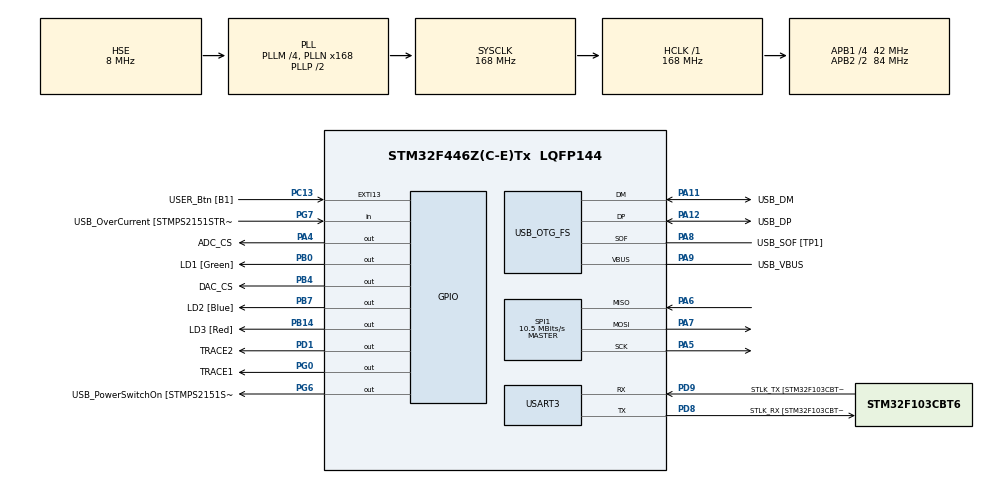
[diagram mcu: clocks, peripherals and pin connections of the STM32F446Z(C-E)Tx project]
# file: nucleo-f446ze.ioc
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Dma.Request0=USART3_RX
Dma.Request1=USART3_TX
Dma.USART3_RX.0.Direction=DMA_PERIPH_TO_MEMORY
Dma.USART3_RX.0.FIFOMode=DMA_FIFOMODE_DISABLE
Dma.USART3_RX.0.Instance=DMA1_Stream1
Dma.USART3_RX.0.MemDataAlignment=DMA_MDATAALIGN_BYTE
Dma.USART3_RX.0.MemInc=DMA_MINC_ENABLE
Dma.USART3_RX.0.Mode=DMA_NORMAL
Dma.USART3_RX.0.PeriphDataAlignment=DMA_PDATAALIGN_BYTE
Dma.USART3_RX.0.PeriphInc=DMA_PINC_DISABLE
Dma.USART3_RX.0.Priority=DMA_PRIORITY_LOW
Dma.USART3_TX.1.Direction=DMA_MEMORY_TO_PERIPH
Dma.USART3_TX.1.FIFOMode=DMA_FIFOMODE_DISABLE
Dma.USART3_TX.1.Instance=DMA1_Stream3
Dma.USART3_TX.1.MemDataAlignment=DMA_MDATAALIGN_BYTE
Dma.USART3_TX.1.MemInc=DMA_MINC_ENABLE
Dma.USART3_TX.1.Mode=DMA_NORMAL
Dma.USART3_TX.1.PeriphDataAlignment=DMA_PDATAALIGN_BYTE
Dma.USART3_TX.1.PeriphInc=DMA_PINC_DISABLE
Dma.USART3_TX.1.Priority=DMA_PRIORITY_LOW
FREERTOS.Tasks01=defaultTask,24,128,StartDefaultTask,Default,NULL,Dynamic,NULL,NULL
FREERTOS.configUSE_NEWLIB_REENTRANT=1
Mcu.Family=STM32F4
Mcu.Name=STM32F446Z(C-E)Tx
Mcu.Package=LQFP144
NVIC.DMA1_Stream1_IRQn=true\:5\:0\:false\:false\:true\:true\:false\:true\:true
NVIC.DMA1_Stream3_IRQn=true\:5\:0\:false\:false\:true\:true\:false\:true\:true
NVIC.PriorityGroup=NVIC_PRIORITYGROUP_4
NVIC.SPI1_IRQn=true\:5\:0\:false\:false\:true\:true\:true\:true\:true
NVIC.TIM1_BRK_TIM9_IRQn=true\:5\:0\:false\:false\:true\:true\:true\:true\:true
NVIC.TIM1_TRG_COM_TIM11_IRQn=true\:5\:0\:false\:false\:true\:true\:true\:true\:true
NVIC.TIM8_TRG_COM_TIM14_IRQn=true\:15\:0\:false\:false\:true\:false\:false\:true\:true
NVIC.TimeBase=TIM8_TRG_COM_TIM14_IRQn
NVIC.TimeBaseIP=TIM14
NVIC.USART3_IRQn=true\:5\:0\:false\:false\:true\:true\:true\:true\:true
PA10.GPIO_Label=USB_ID
PA10.Signal=USB_OTG_FS_ID
PA11.GPIO_Label=USB_DM
PA11.Mode=Device_Only
PA11.Signal=USB_OTG_FS_DM
PA12.GPIO_Label=USB_DP
PA12.Mode=Device_Only
PA12.Signal=USB_OTG_FS_DP
PA13.GPIO_Label=TMS
PA13.Mode=Serial_Wire
PA13.Signal=SYS_JTMS-SWDIO
PA14.GPIO_Label=TCK
PA14.Mode=Serial_Wire
PA14.Signal=SYS_JTCK-SWCLK
PA4.GPIO_Label=ADC_CS
PA4.PinState=GPIO_PIN_SET
PA4.Signal=GPIO_Output
PA5.Mode=Full_Duplex_Master
PA5.Signal=SPI1_SCK
PA6.Mode=Full_Duplex_Master
PA6.Signal=SPI1_MISO
PA7.Mode=Full_Duplex_Master
PA7.Signal=SPI1_MOSI
PA8.GPIO_Label=USB_SOF [TP1]
PA8.Mode=Activate_SOF_FS
PA8.Signal=USB_OTG_FS_SOF
PA9.GPIO_Label=USB_VBUS
PA9.Mode=Activate_VBUS
PA9.Signal=USB_OTG_FS_VBUS
PB0.GPIO_Label=LD1 [Green]
PB0.Signal=GPIO_Output
PB14.GPIO_Label=LD3 [Red]
PB14.Signal=GPIO_Output
PB4.GPIO_Label=DAC_CS
PB4.PinState=GPIO_PIN_SET
PB4.Signal=GPIO_Output
PB7.GPIO_Label=LD2 [Blue]
PB7.Signal=GPIO_Output
PC13.GPIO_Label=USER_Btn [B1]
PC13.Signal=GPXTI13
PC14-OSC32_IN.Mode=LSE-External-Oscillator
PC14-OSC32_IN.Signal=RCC_OSC32_IN
PC15-OSC32_OUT.Mode=LSE-External-Oscillator
PC15-OSC32_OUT.Signal=RCC_OSC32_OUT
PD1.GPIO_Label=TRACE2
PD1.GPIO_Speed=GPIO_SPEED_FREQ_VERY_HIGH
PD1.Signal=GPIO_Output
PD8.GPIO_Label=STLK_RX [STM32F103CBT6_PA3]
PD8.Mode=Asynchronous
PD8.Signal=USART3_TX
PD9.GPIO_Label=STLK_TX [STM32F103CBT6_PA2]
PD9.Mode=Asynchronous
PD9.Signal=USART3_RX
PG0.GPIO_Label=TRACE1
PG0.GPIO_ModeDefaultOutputPP=GPIO_MODE_OUTPUT_PP
PG0.GPIO_PuPd=GPIO_NOPULL
PG0.GPIO_Speed=GPIO_SPEED_FREQ_VERY_HIGH
PG0.PinState=GPIO_PIN_RESET
PG0.Signal=GPIO_Output
PG6.GPIO_Label=USB_PowerSwitchOn [STMPS2151STR_EN]
PG6.Signal=GPIO_Output
PG7.GPIO_Label=USB_OverCurrent [STMPS2151STR_FAULT]
PG7.Signal=GPIO_Input
PH0-OSC_IN.GPIO_Label=MCO [STM32F103CBT6_PA8]
PH0-OSC_IN.Mode=HSE-External-Clock-Source
PH0-OSC_IN.Signal=RCC_OSC_IN
PH1-OSC_OUT.Mode=HSE-External-Clock-Source
PH1-OSC_OUT.Signal=RCC_OSC_OUT
ProjectManager.HeapSize=0x200
ProjectManager.StackSize=0x400
ProjectManager.TargetToolchain=CMake
RCC.48MHZClocksFreq_Value=24000000
RCC.AHBFreq_Value=168000000
RCC.APB1CLKDivider=RCC_HCLK_DIV4
RCC.APB1Freq_Value=42000000
RCC.APB1TimFreq_Value=84000000
RCC.APB2CLKDivider=RCC_HCLK_DIV2
RCC.APB2Freq_Value=84000000
RCC.APB2TimFreq_Value=168000000
RCC.CortexFreq_Value=168000000
RCC.HCLKFreq_Value=168000000
RCC.HSE_VALUE=8000000
RCC.HSI_VALUE=16000000
RCC.PLLM=4
RCC.PLLMUL=RCC_PLL_MUL9
RCC.PLLN=168
RCC.PLLQ=7
RCC.PRESCALERUSB=RCC_USBCLKSOURCE_PLL_DIV1_5
RCC.SYSCLKFreq_VALUE=168000000
RCC.SYSCLKSource=RCC_SYSCLKSOURCE_PLLCLK
RCC.SYSCLKSourceVirtual=RCC_SYSCLKSOURCE_PLLCLK
RCC.USBFreq_Value=48000000
RCC.VCOOutputFreq_Value=336000000
SPI1.BaudRatePrescaler=SPI_BAUDRATEPRESCALER_8
SPI1.CLKPhase=SPI_PHASE_2EDGE
SPI1.CLKPolarity=SPI_POLARITY_HIGH
SPI1.CalculateBaudRate=10.5 MBits/s
SPI1.Direction=SPI_DIRECTION_2LINES
SPI1.Mode=SPI_MODE_MASTER
SPI1.VirtualType=VM_MASTER
TIM11.Prescaler=168-1
TIM9.Period=2000-1
TIM9.Prescaler=168-1
USART3.VirtualMode=VM_ASYNC
USB_OTG_FS.VirtualMode=Device_Only
VP_CRC_VS_CRC.Mode=CRC_Activate
VP_FREERTOS_VS_CMSIS_V2.Mode=CMSIS_V2
VP_SYS_VS_tim14.Mode=TIM14
VP_TIM11_VS_ClockSourceINT.Mode=Enable_Timer
VP_TIM9_VS_ClockSourceINT.Mode=Internal
board=NUCLEO-F446ZE

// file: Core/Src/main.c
/* USER CODE BEGIN Header */
/**
  ******************************************************************************
  * @file           : main.c
  * @brief          : Main program body
  ******************************************************************************
  * @attention
  *
  * Copyright (c) 2026 STMicroelectronics.
  * All rights reserved.
  *
  * This software is licensed under terms that can be found in the LICENSE file
  * in the root directory of this software component.
  * If no LICENSE file comes with this software, it is provided AS-IS.
  *
  ******************************************************************************
  */
/* USER CODE END Header */
#include "main.h"
#include "cmsis_os.h"

/* USER CODE BEGIN Includes */
#include "optics.h"
#include "logging.h"
#include "util.h"

/* USER CODE END Includes */

/* USER CODE BEGIN PTD */
#define TRACE1_HIGH()   (TRACE1_GPIO_Port->BSRR = TRACE1_Pin)
#define TRACE1_LOW()    (TRACE1_GPIO_Port->BSRR = (TRACE1_Pin << 16U))

#define TRACE2_HIGH()   (TRACE2_GPIO_Port->BSRR = TRACE2_Pin)
#define TRACE2_LOW()    (TRACE2_GPIO_Port->BSRR = (TRACE2_Pin << 16U))
/* USER CODE END PTD */

/* USER CODE BEGIN PD */
#ifndef OPTICS_DUMP_PERIOD_MS
#define OPTICS_DUMP_PERIOD_MS 250u
#endif
/* USER CODE END PD */

CRC_HandleTypeDef hcrc;

SPI_HandleTypeDef hspi1;

TIM_HandleTypeDef htim9;
TIM_HandleTypeDef htim11;

UART_HandleTypeDef huart3;
DMA_HandleTypeDef hdma_usart3_rx;
DMA_HandleTypeDef hdma_usart3_tx;

PCD_HandleTypeDef hpcd_USB_OTG_FS;

/* Definitions for defaultTask */
osThreadId_t defaultTaskHandle;
const osThreadAttr_t defaultTask_attributes = {
  .name = "defaultTask",
  .stack_size = 128 * 4,
  .priority = (osPriority_t) osPriorityNormal,
};
/* USER CODE BEGIN PV */
static volatile uint8_t tim9_sample_flag = 0;

/* Definitions for opticsTask */
osThreadId_t opticsTaskHandle;
const osThreadAttr_t opticsTask_attributes = {
  .name = "opticsTask",
  .stack_size = 512 * 4,
  .priority = (osPriority_t) osPriorityNormal,
};
/* USER CODE END PV */

void SystemClock_Config(void);
static void MX_GPIO_Init(void);
static void MX_DMA_Init(void);
static void MX_USART3_UART_Init(void);
static void MX_USB_OTG_FS_PCD_Init(void);
static void MX_SPI1_Init(void);
static void MX_TIM11_Init(void);
static void MX_CRC_Init(void);
static void MX_TIM9_Init(void);
void StartDefaultTask(void *argument);

/* USER CODE BEGIN PFP */
void StartOpticsTask(void *argument);

/* USER CODE END PFP */

int main(void)
{

  /* MCU Configuration--------------------------------------------------------*/

  /* Reset of all peripherals, Initializes the Flash interface and the Systick. */
  HAL_Init();

  /* Configure the system clock */
  SystemClock_Config();

  /* Initialize all configured peripherals */
  MX_GPIO_Init();
  MX_DMA_Init();
  MX_USART3_UART_Init();
  MX_USB_OTG_FS_PCD_Init();
  MX_SPI1_Init();
  MX_TIM11_Init();
  MX_CRC_Init();
  MX_TIM9_Init();
  /* USER CODE BEGIN 2 */
  Delay_Init();
  init_dma_logging();

  printf("\033c");
  printf("Nucleo Demo\r\n");
  printf("CPU Clock Frequency: %lu MHz\r\n\r\n", HAL_RCC_GetSysClockFreq() / 1000000);

  /* USER CODE END 2 */

  /* Init scheduler */
  osKernelInitialize();

  /* Create the thread(s) */
  /* creation of defaultTask */
  defaultTaskHandle = osThreadNew(StartDefaultTask, NULL, &defaultTask_attributes);

  /* USER CODE BEGIN RTOS_THREADS */
  /* add threads, ... */
  opticsTaskHandle = osThreadNew(StartOpticsTask, NULL, &opticsTask_attributes);
  /* USER CODE END RTOS_THREADS */

  /* Start scheduler */
  osKernelStart();

  /* We should never get here as control is now taken by the scheduler */

  /* Infinite loop */
  while (1)
  {

  }
}

void SystemClock_Config(void)
{
  RCC_OscInitTypeDef RCC_OscInitStruct = {0};
  RCC_ClkInitTypeDef RCC_ClkInitStruct = {0};

  /** Configure the main internal regulator output voltage
  */
  __HAL_RCC_PWR_CLK_ENABLE();
  __HAL_PWR_VOLTAGESCALING_CONFIG(PWR_REGULATOR_VOLTAGE_SCALE1);

  /** Initializes the RCC Oscillators according to the specified parameters
  * in the RCC_OscInitTypeDef structure.
  */
  RCC_OscInitStruct.OscillatorType = RCC_OSCILLATORTYPE_HSE;
  RCC_OscInitStruct.HSEState = RCC_HSE_BYPASS;
  RCC_OscInitStruct.PLL.PLLState = RCC_PLL_ON;
  RCC_OscInitStruct.PLL.PLLSource = RCC_PLLSOURCE_HSE;
  RCC_OscInitStruct.PLL.PLLM = 4;
  RCC_OscInitStruct.PLL.PLLN = 168;
  RCC_OscInitStruct.PLL.PLLP = RCC_PLLP_DIV2;
  RCC_OscInitStruct.PLL.PLLQ = 7;
  RCC_OscInitStruct.PLL.PLLR = 2;
  if (HAL_RCC_OscConfig(&RCC_OscInitStruct) != HAL_OK)
  {
    Error_Handler();
  }

  /** Initializes the CPU, AHB and APB buses clocks
  */
  RCC_ClkInitStruct.ClockType = RCC_CLOCKTYPE_HCLK|RCC_CLOCKTYPE_SYSCLK
                              |RCC_CLOCKTYPE_PCLK1|RCC_CLOCKTYPE_PCLK2;
  RCC_ClkInitStruct.SYSCLKSource = RCC_SYSCLKSOURCE_PLLCLK;
  RCC_ClkInitStruct.AHBCLKDivider = RCC_SYSCLK_DIV1;
  RCC_ClkInitStruct.APB1CLKDivider = RCC_HCLK_DIV4;
  RCC_ClkInitStruct.APB2CLKDivider = RCC_HCLK_DIV2;

  if (HAL_RCC_ClockConfig(&RCC_ClkInitStruct, FLASH_LATENCY_5) != HAL_OK)
  {
    Error_Handler();
  }
}

static void MX_CRC_Init(void)
{

  hcrc.Instance = CRC;
  if (HAL_CRC_Init(&hcrc) != HAL_OK)
  {
    Error_Handler();
  }

}

static void MX_SPI1_Init(void)
{

  /* SPI1 parameter configuration*/
  hspi1.Instance = SPI1;
  hspi1.Init.Mode = SPI_MODE_MASTER;
  hspi1.Init.Direction = SPI_DIRECTION_2LINES;
  hspi1.Init.DataSize = SPI_DATASIZE_8BIT;
  hspi1.Init.CLKPolarity = SPI_POLARITY_HIGH;
  hspi1.Init.CLKPhase = SPI_PHASE_2EDGE;
  hspi1.Init.NSS = SPI_NSS_SOFT;
  hspi1.Init.BaudRatePrescaler = SPI_BAUDRATEPRESCALER_8;
  hspi1.Init.FirstBit = SPI_FIRSTBIT_MSB;
  hspi1.Init.TIMode = SPI_TIMODE_DISABLE;
  hspi1.Init.CRCCalculation = SPI_CRCCALCULATION_DISABLE;
  hspi1.Init.CRCPolynomial = 10;
  if (HAL_SPI_Init(&hspi1) != HAL_OK)
  {
    Error_Handler();
  }

}

static void MX_TIM9_Init(void)
{

  TIM_ClockConfigTypeDef sClockSourceConfig = {0};

  htim9.Instance = TIM9;
  htim9.Init.Prescaler = 168-1;
  htim9.Init.CounterMode = TIM_COUNTERMODE_UP;
  htim9.Init.Period = 2000-1;
  htim9.Init.ClockDivision = TIM_CLOCKDIVISION_DIV1;
  htim9.Init.AutoReloadPreload = TIM_AUTORELOAD_PRELOAD_DISABLE;
  if (HAL_TIM_Base_Init(&htim9) != HAL_OK)
  {
    Error_Handler();
  }
  sClockSourceConfig.ClockSource = TIM_CLOCKSOURCE_INTERNAL;
  if (HAL_TIM_ConfigClockSource(&htim9, &sClockSourceConfig) != HAL_OK)
  {
    Error_Handler();
  }

}

static void MX_TIM11_Init(void)
{

  htim11.Instance = TIM11;
  htim11.Init.Prescaler = 168-1;
  htim11.Init.CounterMode = TIM_COUNTERMODE_UP;
  htim11.Init.Period = 65535;
  htim11.Init.ClockDivision = TIM_CLOCKDIVISION_DIV1;
  htim11.Init.AutoReloadPreload = TIM_AUTORELOAD_PRELOAD_DISABLE;
  if (HAL_TIM_Base_Init(&htim11) != HAL_OK)
  {
    Error_Handler();
  }

}

static void MX_USART3_UART_Init(void)
{

  huart3.Instance = USART3;
  huart3.Init.BaudRate = 115200;
  huart3.Init.WordLength = UART_WORDLENGTH_8B;
  huart3.Init.StopBits = UART_STOPBITS_1;
  huart3.Init.Parity = UART_PARITY_NONE;
  huart3.Init.Mode = UART_MODE_TX_RX;
  huart3.Init.HwFlowCtl = UART_HWCONTROL_NONE;
  huart3.Init.OverSampling = UART_OVERSAMPLING_16;
  if (HAL_UART_Init(&huart3) != HAL_OK)
  {
    Error_Handler();
  }

}

static void MX_USB_OTG_FS_PCD_Init(void)
{

  hpcd_USB_OTG_FS.Instance = USB_OTG_FS;
  hpcd_USB_OTG_FS.Init.dev_endpoints = 6;
  hpcd_USB_OTG_FS.Init.speed = PCD_SPEED_FULL;
  hpcd_USB_OTG_FS.Init.dma_enable = DISABLE;
  hpcd_USB_OTG_FS.Init.phy_itface = PCD_PHY_EMBEDDED;
  hpcd_USB_OTG_FS.Init.Sof_enable = ENABLE;
  hpcd_USB_OTG_FS.Init.low_power_enable = DISABLE;
  hpcd_USB_OTG_FS.Init.lpm_enable = DISABLE;
  hpcd_USB_OTG_FS.Init.vbus_sensing_enable = ENABLE;
  hpcd_USB_OTG_FS.Init.use_dedicated_ep1 = DISABLE;
  if (HAL_PCD_Init(&hpcd_USB_OTG_FS) != HAL_OK)
  {
    Error_Handler();
  }

}

static void MX_DMA_Init(void)
{

  /* DMA controller clock enable */
  __HAL_RCC_DMA1_CLK_ENABLE();

  /* DMA interrupt init */
  /* DMA1_Stream1_IRQn interrupt configuration */
  HAL_NVIC_SetPriority(DMA1_Stream1_IRQn, 5, 0);
  HAL_NVIC_EnableIRQ(DMA1_Stream1_IRQn);
  /* DMA1_Stream3_IRQn interrupt configuration */
  HAL_NVIC_SetPriority(DMA1_Stream3_IRQn, 5, 0);
  HAL_NVIC_EnableIRQ(DMA1_Stream3_IRQn);

}

static void MX_GPIO_Init(void)
{
  GPIO_InitTypeDef GPIO_InitStruct = {0};

  /* GPIO Ports Clock Enable */
  __HAL_RCC_GPIOC_CLK_ENABLE();
  __HAL_RCC_GPIOH_CLK_ENABLE();
  __HAL_RCC_GPIOA_CLK_ENABLE();
  __HAL_RCC_GPIOB_CLK_ENABLE();
  __HAL_RCC_GPIOG_CLK_ENABLE();
  __HAL_RCC_GPIOD_CLK_ENABLE();

  /*Configure GPIO pin Output Level */
  HAL_GPIO_WritePin(ADC_CS_GPIO_Port, ADC_CS_Pin, GPIO_PIN_SET);

  /*Configure GPIO pin Output Level */
  HAL_GPIO_WritePin(GPIOB, LD1_Pin|LD3_Pin|LD2_Pin, GPIO_PIN_RESET);

  /*Configure GPIO pin Output Level */
  HAL_GPIO_WritePin(GPIOG, TRACE1_Pin|USB_PowerSwitchOn_Pin, GPIO_PIN_RESET);

  /*Configure GPIO pin Output Level */
  HAL_GPIO_WritePin(TRACE2_GPIO_Port, TRACE2_Pin, GPIO_PIN_RESET);

  /*Configure GPIO pin Output Level */
  HAL_GPIO_WritePin(DAC_CS_GPIO_Port, DAC_CS_Pin, GPIO_PIN_SET);

  /*Configure GPIO pin : USER_Btn_Pin */
  GPIO_InitStruct.Pin = USER_Btn_Pin;
  GPIO_InitStruct.Mode = GPIO_MODE_IT_RISING;
  GPIO_InitStruct.Pull = GPIO_NOPULL;
  HAL_GPIO_Init(USER_Btn_GPIO_Port, &GPIO_InitStruct);

  /*Configure GPIO pin : ADC_CS_Pin */
  GPIO_InitStruct.Pin = ADC_CS_Pin;
  GPIO_InitStruct.Mode = GPIO_MODE_OUTPUT_PP;
  GPIO_InitStruct.Pull = GPIO_NOPULL;
  GPIO_InitStruct.Speed = GPIO_SPEED_FREQ_LOW;
  HAL_GPIO_Init(ADC_CS_GPIO_Port, &GPIO_InitStruct);

  /*Configure GPIO pins : LD1_Pin LD3_Pin DAC_CS_Pin LD2_Pin */
  GPIO_InitStruct.Pin = LD1_Pin|LD3_Pin|DAC_CS_Pin|LD2_Pin;
  GPIO_InitStruct.Mode = GPIO_MODE_OUTPUT_PP;
  GPIO_InitStruct.Pull = GPIO_NOPULL;
  GPIO_InitStruct.Speed = GPIO_SPEED_FREQ_LOW;
  HAL_GPIO_Init(GPIOB, &GPIO_InitStruct);

  /*Configure GPIO pin : TRACE1_Pin */
  GPIO_InitStruct.Pin = TRACE1_Pin;
  GPIO_InitStruct.Mode = GPIO_MODE_OUTPUT_PP;
  GPIO_InitStruct.Pull = GPIO_NOPULL;
  GPIO_InitStruct.Speed = GPIO_SPEED_FREQ_VERY_HIGH;
  HAL_GPIO_Init(TRACE1_GPIO_Port, &GPIO_InitStruct);

  /*Configure GPIO pin : USB_PowerSwitchOn_Pin */
  GPIO_InitStruct.Pin = USB_PowerSwitchOn_Pin;
  GPIO_InitStruct.Mode = GPIO_MODE_OUTPUT_PP;
  GPIO_InitStruct.Pull = GPIO_NOPULL;
  GPIO_InitStruct.Speed = GPIO_SPEED_FREQ_LOW;
  HAL_GPIO_Init(USB_PowerSwitchOn_GPIO_Port, &GPIO_InitStruct);

  /*Configure GPIO pin : USB_OverCurrent_Pin */
  GPIO_InitStruct.Pin = USB_OverCurrent_Pin;
  GPIO_InitStruct.Mode = GPIO_MODE_INPUT;
  GPIO_InitStruct.Pull = GPIO_NOPULL;
  HAL_GPIO_Init(USB_OverCurrent_GPIO_Port, &GPIO_InitStruct);

  /*Configure GPIO pin : TRACE2_Pin */
  GPIO_InitStruct.Pin = TRACE2_Pin;
  GPIO_InitStruct.Mode = GPIO_MODE_OUTPUT_PP;
  GPIO_InitStruct.Pull = GPIO_NOPULL;
  GPIO_InitStruct.Speed = GPIO_SPEED_FREQ_VERY_HIGH;
  HAL_GPIO_Init(TRACE2_GPIO_Port, &GPIO_InitStruct);

}

/* USER CODE BEGIN 4 */

void HAL_UART_RxCpltCallback(UART_HandleTypeDef *huart)
{
}

void HAL_UART_TxCpltCallback(UART_HandleTypeDef *huart)
{
  if (huart->Instance == USART3)
  {
    logging_UART_TxCpltCallback(huart);
  }
}

void StartOpticsTask(void *argument)
{
  uint16_t val1 = 0;
  uint16_t val2 = 100;
  uint16_t req_mask = 0x05; /* ADC channels to capture: CH0 and CH2. */

  if(optics_init() != HAL_OK) Error_Handler();

  optics_clearBuffer_byMask(0x0f);

  /* Set initial laser powers and start the free-running SCAN. */
  if(optics_startLaser_byMask(0x01, val1) != HAL_OK) Error_Handler();
  if(optics_startLaser_byMask(0x02, val2) != HAL_OK) Error_Handler();
  /* ADC mask is per raw chip channel: CH0 = 0x01, CH2 = 0x04 -> 0x05 */
  optics_clearBuffer_byMask(req_mask);
  optics_adcStart(req_mask);

  if (optics_get_active_optics_mask() != 0 && (htim9.Instance->CR1 & TIM_CR1_CEN) == 0)
  {
    HAL_TIM_Base_Start_IT(&htim9);
  }

  uint32_t last_dump_ms = HAL_GetTick();

  /* Infinite loop */
  for(;;)
  {
    /* Yield to the scheduler so logging/idle/lower-prio tasks can run.
     * Without this the bare for(;;) busy-loops, starving the UART DMA
     * pump and stretching the effective dump period well past 100 ms. */
    // osDelay(1);

    /* Every OPTICS_DUMP_PERIOD_MS: dump captured samples and roll the buffers. */
    if ((HAL_GetTick() - last_dump_ms) >= OPTICS_DUMP_PERIOD_MS) {
      last_dump_ms += OPTICS_DUMP_PERIOD_MS;  /* fixed cadence; don't drift with work time */

      uint8_t *buf = NULL;
      uint16_t buf_len = 0;

      /* Wait for TIM9 ISR to finish, giving a safe ~2 ms window for readout. */
      tim9_sample_flag = 0;
      while (!tim9_sample_flag) {}
      tim9_sample_flag = 0;

      HAL_GPIO_TogglePin(LD2_GPIO_Port, LD2_Pin);
      TRACE2_HIGH();
      if (optics_getBuffer_byMask(0x01, &buf, &buf_len) == HAL_OK) {
        uint16_t sample_count = buf_len / 2;
        uint16_t n = sample_count < 5u ? sample_count : 5u;
        printf("Optics[0] ch %d samples %u (laser=%u):\r\n", 0, sample_count, val1);
        for (uint16_t i = 0; i < n; i++) {
          uint16_t sample = ((uint16_t)buf[i * 2] << 8) | buf[i * 2 + 1];
          printf(" (0x%04X) ", sample);
        }
      }
      printf("\r\n");

      if (optics_getBuffer_byMask(0x04, &buf, &buf_len) == HAL_OK) {
        uint16_t sample_count = buf_len / 2;
        uint16_t n = sample_count < 5u ? sample_count : 5u;
        printf("Optics[0] ch %d samples %u (laser=%u):\r\n", 2, sample_count, val2);
        for (uint16_t i = 0; i < n; i++) {
          uint16_t sample = ((uint16_t)buf[i * 2] << 8) | buf[i * 2 + 1];
          printf(" (0x%04X) ", sample);
        }
      }
      printf("\r\n\r\n");

      /* Reset buffers for the next window: clear chip channels 0 and 2. */
      optics_clearBuffer_byMask(0x05);

      /* Step the laser powers. */
      val1 += 10; if (val1 > 100) val1 = 0;
      val2 -= 10; if (val2 < 1)   val2 = 100;
      (void)optics_startLaser_byMask(0x01, val1);
      (void)optics_startLaser_byMask(0x02, val2);

      TRACE2_LOW();

    }

  }

}

/* USER CODE END 4 */

void StartDefaultTask(void *argument)
{
  for(;;)
  {
    osDelay(1);
  }
}

void HAL_TIM_PeriodElapsedCallback(TIM_HandleTypeDef *htim)
{
  if (htim->Instance == TIM14)
  {
    HAL_IncTick();
  }
  /* USER CODE BEGIN Callback 1 */
  if (htim->Instance == TIM9) {
	  /* Defer the SPI work to the main loop. */
    TRACE1_HIGH();
    (void)optics_adcReadSamples(0);
    TRACE1_LOW();
    tim9_sample_flag = 1;
  }

  /* USER CODE END Callback 1 */
}

void Error_Handler(void)
{
  /* USER CODE BEGIN Error_Handler_Debug */
  /* User can add his own implementation to report the HAL error return state */
  HAL_GPIO_WritePin(LD3_GPIO_Port, LD3_Pin, GPIO_PIN_SET);
  __disable_irq();
  while (1)
  {
  }
  /* USER CODE END Error_Handler_Debug */
}
